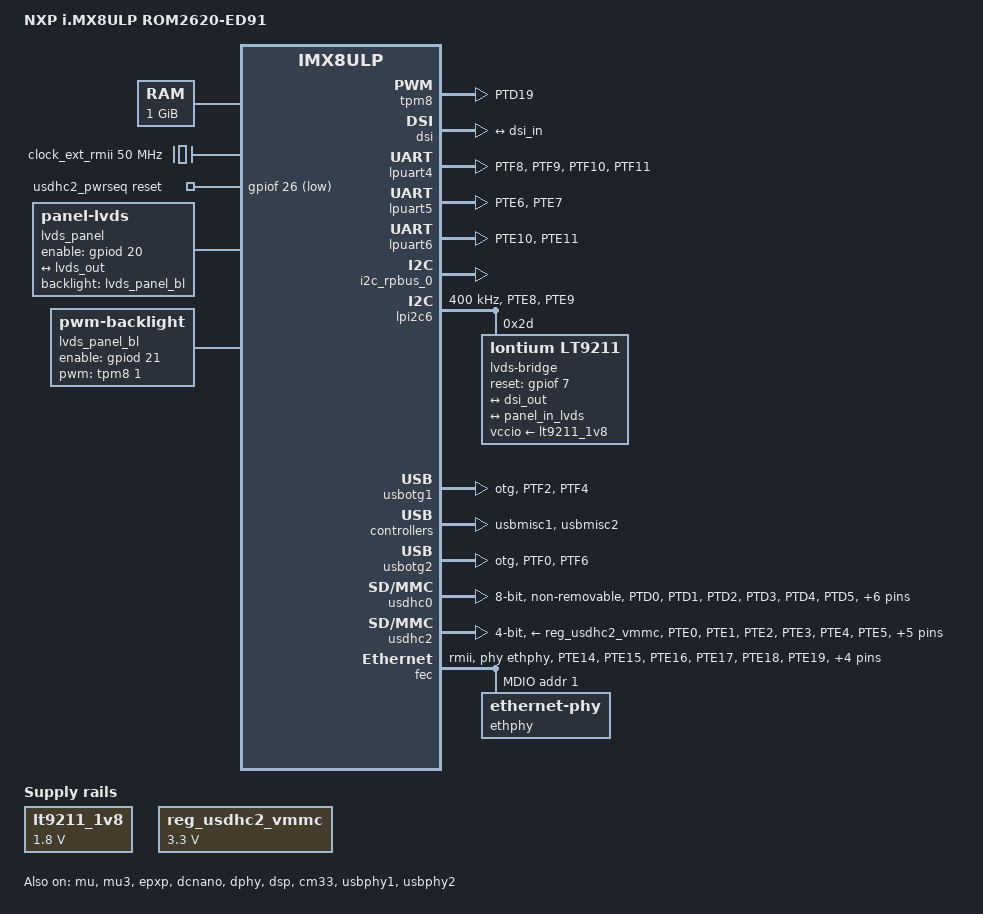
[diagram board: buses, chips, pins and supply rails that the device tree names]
// SPDX-License-Identifier: (GPL-2.0+ OR MIT)
/*
 * Copyright 2021 NXP
 */

/dts-v1/;

#include "imx8ulp.dtsi"
#include "imx8ulp-rpmsg.dtsi"
#include <dt-bindings/input/input.h>

/ {
	model = "NXP i.MX8ULP ROM2620-ED91";
	compatible = "fsl,imx8ulp-evk", "fsl,imx8ulp";

	chosen {
		stdout-path = &lpuart5;
	};

	/* ends a byte before C0000000 */
	memory@80000000 {
		device_type = "memory";
		reg = <0x0 0x80000000 0 0x40000000>;
	};

	reserved-memory {
		#address-cells = <2>;
		#size-cells = <2>;
		ranges;

		/* 440MB to 220MB */
		linux,cma {
			compatible = "shared-dma-pool";
			reusable;
			size = <0 0x0DC00000>;
			linux,cma-default;
		};

		m33_reserved: m33_noncacheable_section@a8600000 {
			reg = <0 0xa8600000 0 0x1000000>;
			no-map;
		};

		rsc_table: rsc-table@1fff8000{
			reg = <0 0x1fff8000 0 0x1000>;
			no-map;
		};

		/* 224MB offset - 16MB */
		dsp_reserved: dsp_reserved@8e000000 {
			reg = <0 0x8e000000 0 0x1000000>;
			no-map;
		};

		/* 240MB offset - 14.9MB */
		dsp_reserved_heap: dsp_reserved_heap {
			reg = <0 0x8f000000 0 0xef0000>;
			no-map;
		};

		/* 254.9375MB offset - some KB */
		dsp_vdev0vring0: vdev0vring0@8fef0000 {
			reg = <0 0x8fef0000 0 0x8000>;
			no-map;
		};

		/* 254.9687MB offset - some KB */
		dsp_vdev0vring1: vdev0vring1@8fef8000 {
			reg = <0 0x8fef8000 0 0x8000>;
			no-map;
		};

		/* 255MB offset - 1MB */
		dsp_vdev0buffer: vdev0buffer@8ff00000 {
			compatible = "shared-dma-pool";
			reg = <0 0x8ff00000 0 0x100000>;
			no-map;
		};

		ele_reserved: ele-reserved@90000000 {
			compatible = "shared-dma-pool";
			reg = <0 0x90000000 0 0x100000>;
			no-map;
		};

		vdev0vring0: vdev0vring0@aff00000 {
			reg = <0 0xaff00000 0 0x8000>;
			no-map;
		};

		vdev0vring1: vdev0vring1@aff08000 {
			reg = <0 0xaff08000 0 0x8000>;
			no-map;
		};

		vdev1vring0: vdev1vring0@aff10000 {
			reg = <0 0xaff10000 0 0x8000>;
			no-map;
		};

		vdev1vring1: vdev1vring1@aff18000 {
			reg = <0 0xaff18000 0 0x8000>;
			no-map;
		};

		vdevbuffer: vdevbuffer@a8400000 {
			compatible = "shared-dma-pool";
			reg = <0 0xa8400000 0 0x100000>;
			no-map;
		};
	};

	clock_ext_rmii: clock-ext-rmii {
		compatible = "fixed-clock";
		clock-frequency = <50000000>;
		clock-output-names = "ext_rmii_clk";
		#clock-cells = <0>;
	};

	lt9211_1v8: regulator-lt9211 {
		compatible = "regulator-fixed";
		regulator-name = "LVDS_BRIDGE";
		regulator-min-microvolt = <1800000>;
		regulator-max-microvolt = <1800000>;
		regulator-always-on;
	};

	reg_usdhc2_vmmc: regulator-usdhc2 {
		compatible = "regulator-fixed";
		regulator-name = "SD_CARD";
		regulator-min-microvolt = <3300000>;
		regulator-max-microvolt = <3300000>;
		regulator-always-on;
	};

	usdhc2_pwrseq: usdhc2_pwrseq {
		compatible = "mmc-pwrseq-simple";
		reset-gpios = <&gpiof 26 GPIO_ACTIVE_LOW>;
	};

	lvds_panel {
		compatible = "panel-lvds";
		width-mm = <170>;
		height-mm = <110>;
		backlight = <&lvds_panel_bl>;
		enable-gpios = <&gpiod 20 GPIO_ACTIVE_HIGH>;
		data-mapping = "vesa-24";

		panel-timing {
			clock-frequency = <33000000>;
			hactive = <800>;
			vactive = <480>;
			hsync-len = <72>;
			hfront-porch = <24>;
			hback-porch = <104>;
			vsync-len = <10>;
			vfront-porch = <3>;
			vback-porch = <57>;
		};

		port {
			panel_in_lvds: endpoint {
				remote-endpoint = <&lvds_out>;
			};
		};
	};

	lvds_panel_bl: bl {
		compatible = "pwm-backlight";
		pwms = <&tpm8 1 1000000 0>;
		enable-gpios = <&gpiod 21 GPIO_ACTIVE_HIGH>;
		brightness-levels = <0 25 50 75 100>;
		default-brightness-level = <100>;
	};
};

&mu {
	status = "okay";
};

&mu3 {
	status = "okay";
};

&ele_mu {
	memory-region = <&ele_reserved>;
};

&epxp {
	status = "okay";
};

&per_bridge5 {
	tpm8: tpm@2da80000 {
		compatible = "fsl,imx7ulp-pwm";
		reg = <0x2da80000 0x10000>;
		pinctrl-names = "default";
		pinctrl-0 = <&pinctrl_tpm8>;
		clocks = <&pcc5 IMX8ULP_CLK_TPM8>;
		clock-names = "ipg";
		assigned-clocks = <&pcc5 IMX8ULP_CLK_TPM8>;
		assigned-clock-parents =  <&cgc1 IMX8ULP_CLK_SOSC_DIV2>;
		assigned-clock-rates = <24000000>;
		#pwm-cells = <3>;
		status = "okay";
	};
};

&dcnano {
	status = "okay";
};

&dphy {
	status = "okay";
};

&dsi {
	status = "okay";

	ports {
		port@1 {
			reg = <1>;

			dsi_out: endpoint {
				remote-endpoint = <&dsi_in>;
			};
		};
	};
};

&dsp {
	assigned-clocks = <&cgc2 IMX8ULP_CLK_HIFI_SEL>, <&cgc2 IMX8ULP_CLK_HIFI_DIVCORE>;
	assigned-clock-parents = <&cgc2 IMX8ULP_CLK_PLL4_PFD0>;
	assigned-clock-rates = <0>, <475200000>;
	memory-region = <&dsp_vdev0buffer>, <&dsp_vdev0vring0>,
			<&dsp_vdev0vring1>, <&dsp_reserved>;
	status = "okay";
};

&cm33 {
	ipc-only;
	rsc-da=<0x1fff8000>;
	mbox-names = "tx", "rx", "rxdb";
	mboxes = <&mu 0 1
			&mu 1 1
			&mu 3 1>;
	memory-region = <&vdevbuffer>, <&vdev0vring0>, <&vdev0vring1>,
			<&vdev1vring0>, <&vdev1vring1>, <&rsc_table>;
	status = "okay";
};

&lpuart4 {
	/* UART A */
	pinctrl-names = "default", "sleep";
	pinctrl-0 = <&pinctrl_lpuart4>;
	pinctrl-1 = <&pinctrl_lpuart4>;
	status = "okay";
};

&lpuart5 {
	/* A35 console */
	pinctrl-names = "default", "sleep";
	pinctrl-0 = <&pinctrl_lpuart5>;
	pinctrl-1 = <&pinctrl_lpuart5>;
	status = "okay";
};

&lpuart6 {
	pinctrl-names = "default", "sleep";
	pinctrl-0 = <&pinctrl_lpuart6>;
	pinctrl-1 = <&pinctrl_lpuart6>;
	status = "okay";
};

&i2c_rpbus_0 {
	/* CAM i2c */
	#address-cells = <1>;
	#size-cells = <0>;
	status = "okay";
};

&lpi2c6 {
	#address-cells = <1>;
	#size-cells = <0>;
	clock-frequency = <400000>;
	pinctrl-names = "default", "sleep";
	pinctrl-0 = <&pinctrl_lpi2c6>;
	pinctrl-1 = <&pinctrl_lpi2c6>;
	status = "okay";

	lvds-bridge@2d {
		compatible = "lontium,lt9211";
		reg = <0x2d>;
		pinctrl-names = "default";
		pinctrl-0 = <&pinctrl_lvdsbridge &pinctrl_lvdspanel>;
		vccio-supply = <&lt9211_1v8>;
		reset-gpios = <&gpiof 7 GPIO_ACTIVE_HIGH>;
		ports {
			port@0 {
				reg = <0>;
				dsi_in: endpoint {
					remote-endpoint = <&dsi_out>;
				};
			};

			port@2 {
				reg = <2>;
				lvds_out: endpoint {
					remote-endpoint = <&panel_in_lvds>;
				};
			};
		};
	};
};

&lpi2c7 {
	#address-cells = <1>;
	#size-cells = <0>;
	clock-frequency = <400000>;
	pinctrl-names = "default", "sleep";
	pinctrl-0 = <&pinctrl_lpi2c7>;
	pinctrl-1 = <&pinctrl_lpi2c7>;
	status = "disabled";
};

&usbotg1 {
	pinctrl-names = "default", "sleep";
	pinctrl-0 = <&pinctrl_otgid1>;
	pinctrl-1 = <&pinctrl_otgid1>;
	dr_mode = "otg";
	hnp-disable;
	srp-disable;
	adp-disable;
	over-current-active-low;
	status = "okay";
};

&usbphy1 {
	status = "okay";
	fsl,tx-d-cal = <110>;
};

&usbmisc1 {
	status = "okay";
};

&usbotg2 {
	pinctrl-names = "default", "sleep";
	pinctrl-0 = <&pinctrl_otgid2>;
	pinctrl-1 = <&pinctrl_otgid2>;
	dr_mode = "otg";
	hnp-disable;
	srp-disable;
	adp-disable;
	over-current-active-low;
	status = "okay";
};

&usbphy2 {
	status = "okay";
	fsl,tx-d-cal = <110>;
};

&usbmisc2 {
	status = "okay";
};

&usdhc0 {
	pinctrl-names = "default", "state_100mhz", "state_200mhz", "sleep";
	pinctrl-0 = <&pinctrl_usdhc0>;
	pinctrl-1 = <&pinctrl_usdhc0>;
	pinctrl-2 = <&pinctrl_usdhc0>;
	pinctrl-3 = <&pinctrl_usdhc0>;
	non-removable;
	bus-width = <8>;
	status = "okay";
};

&usdhc2 {
	pinctrl-names = "default", "state_100mhz", "state_200mhz", "sleep";
	pinctrl-0 = <&pinctrl_usdhc2_pte>;
	pinctrl-1 = <&pinctrl_usdhc2_pte>;
	pinctrl-2 = <&pinctrl_usdhc2_pte>;
	pinctrl-3 = <&pinctrl_usdhc2_pte>;
	mmc-pwrseq = <&usdhc2_pwrseq>;
	vmmc-supply = <&reg_usdhc2_vmmc>;
	max-frequency = <100000000>;
	bus-width = <4>;
	keep-power-in-suspend;
	no-1-8-v;
	wp-gpios = <&gpiof 27 GPIO_ACTIVE_HIGH>;
	cd-gpios = <&gpiof 28 GPIO_ACTIVE_LOW>;
	status = "okay";
};

&fec {
	pinctrl-names = "default", "sleep";
	pinctrl-0 = <&pinctrl_enet>;
	pinctrl-1 = <&pinctrl_enet>;
	clocks = <&cgc1 IMX8ULP_CLK_XBAR_DIVBUS>,
		 <&pcc4 IMX8ULP_CLK_ENET>,
		 <&cgc1 IMX8ULP_CLK_ENET_TS_SEL>,
		 <&clock_ext_rmii>;
	clock-names = "ipg", "ahb", "ptp", "enet_clk_ref";
	assigned-clocks = <&cgc1 IMX8ULP_CLK_ENET_TS_SEL>;
	assigned-clock-parents = <&clock_ext_rmii>;
	phy-mode = "rmii";
	phy-handle = <&ethphy>;
	status = "okay";

	mdio {
		#address-cells = <1>;
		#size-cells = <0>;

		ethphy: ethernet-phy@1 {
			reg = <1>;
			micrel,led-mode = <1>;
		};
	};
};

&iomuxc1 {
	pinctrl_tpm8: tpm8grp {
		fsl,pins = <
			MX8ULP_PAD_PTD19__TPM8_CH1      0x42
		>;
	};

	pinctrl_lpuart4: lpuart4grp {
		fsl,pins = <
			MX8ULP_PAD_PTF8__LPUART4_CTS_B	0x3
			MX8ULP_PAD_PTF9__LPUART4_RTS_B	0x3
			MX8ULP_PAD_PTF10__LPUART4_TX	0x3
			MX8ULP_PAD_PTF11__LPUART4_RX	0x3
		>;
	};

	pinctrl_lpuart5: lpuart5grp {
		fsl,pins = <
			MX8ULP_PAD_PTE6__LPUART5_TX	    0x3
			MX8ULP_PAD_PTE7__LPUART5_RX	    0x3
		>;
	};

	pinctrl_lpuart6: lpuart6grp {
		fsl,pins = <
			MX8ULP_PAD_PTE10__LPUART6_TX	0x3
			MX8ULP_PAD_PTE11__LPUART6_RX	0x3
		>;
	};

	pinctrl_lpi2c6: lpi2c6grp {
		fsl,pins = <
			MX8ULP_PAD_PTE8__LPI2C6_SCL	    0x20
			MX8ULP_PAD_PTE9__LPI2C6_SDA	    0x20
		>;
	};

	pinctrl_lpi2c7: lpi2c7grp {
		fsl,pins = <
			MX8ULP_PAD_PTE12__LPI2C7_SCL	0x20
			MX8ULP_PAD_PTE13__LPI2C7_SDA	0x20
		>;
	};

	pinctrl_otgid1: usb1grp {
		fsl,pins = <
			MX8ULP_PAD_PTF2__USB0_ID	0x10003
			MX8ULP_PAD_PTF4__USB0_OC	0x10003
		>;
	};

	pinctrl_otgid2: usb2grp {
		fsl,pins = <
			MX8ULP_PAD_PTF0__USB1_ID	0x10003
			MX8ULP_PAD_PTF6__USB1_OC	0x10003
		>;
	};

	pinctrl_lvdsbridge: lvdsbridgegrp {
		fsl,pins = <
			MX8ULP_PAD_PTF7__PTF7		0x2
		>;
	};

	pinctrl_lvdspanel: lvdspanelgrp {
		fsl,pins = <
			MX8ULP_PAD_PTD20__PTD20		0x2
			MX8ULP_PAD_PTD21__PTD21		0x2
		>;
	};

	pinctrl_usdhc0: usdhc0grp {
		fsl,pins = <
			MX8ULP_PAD_PTD0__SDHC0_RESET_B	0x3
			MX8ULP_PAD_PTD1__SDHC0_CMD	    0x3
			MX8ULP_PAD_PTD2__SDHC0_CLK	0x10002
			MX8ULP_PAD_PTD3__SDHC0_D7	    0x3
			MX8ULP_PAD_PTD4__SDHC0_D6	    0x3
			MX8ULP_PAD_PTD5__SDHC0_D5	    0x3
			MX8ULP_PAD_PTD6__SDHC0_D4	    0x3
			MX8ULP_PAD_PTD7__SDHC0_D3	    0x3
			MX8ULP_PAD_PTD8__SDHC0_D2	    0x3
			MX8ULP_PAD_PTD9__SDHC0_D1	    0x3
			MX8ULP_PAD_PTD10__SDHC0_D0	    0x3
			MX8ULP_PAD_PTD11__SDHC0_DQS	0x10002
		>;
	};

	pinctrl_usdhc2_pte: usdhc2ptegrp {
		fsl,pins = <
			MX8ULP_PAD_PTE0__SDHC2_D1	    0x3
			MX8ULP_PAD_PTE1__SDHC2_D0	    0x3
			MX8ULP_PAD_PTE2__SDHC2_CLK	0x10002
			MX8ULP_PAD_PTE3__SDHC2_CMD	    0x3
			MX8ULP_PAD_PTE4__SDHC2_D3	    0x3
			MX8ULP_PAD_PTE5__SDHC2_D2	    0x3
			MX8ULP_PAD_PTF26__SDHC2_RESET_B	0x3
			MX8ULP_PAD_PTF27__SDHC2_WP	    0x2
			MX8ULP_PAD_PTF28__SDHC2_CD	    0x3
		>;
	};

	pinctrl_enet: enetgrp {
		fsl,pins = <
			MX8ULP_PAD_PTE14__ENET0_MDIO	0x43
			MX8ULP_PAD_PTE15__ENET0_MDC	    0x43
			MX8ULP_PAD_PTE16__ENET0_TXEN	0x43
			MX8ULP_PAD_PTE17__ENET0_RXER	0x43
			MX8ULP_PAD_PTE18__ENET0_CRS_DV	0x43
			MX8ULP_PAD_PTE19__ENET0_REFCLK	0x43
			MX8ULP_PAD_PTE20__ENET0_RXD1	0x43
			MX8ULP_PAD_PTE21__ENET0_RXD0	0x43
			MX8ULP_PAD_PTE22__ENET0_TXD1	0x43
			MX8ULP_PAD_PTE23__ENET0_TXD0	0x43
		>;
	};
};
